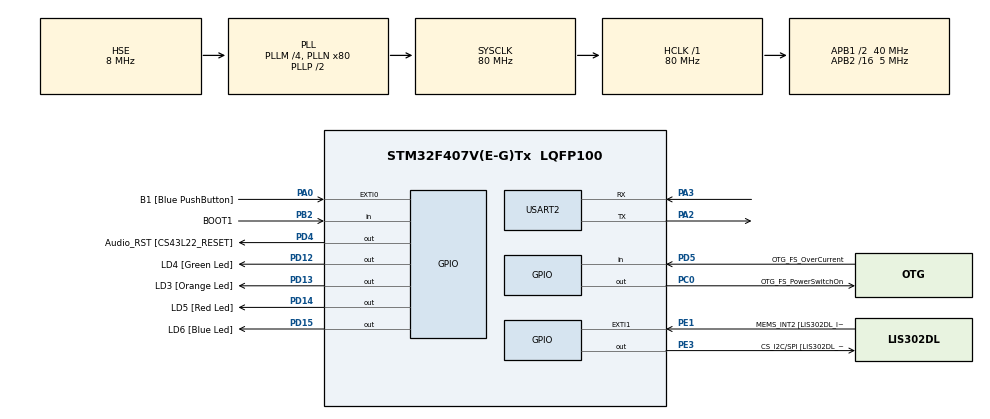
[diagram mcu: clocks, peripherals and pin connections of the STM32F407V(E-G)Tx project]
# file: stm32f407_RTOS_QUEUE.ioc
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FREERTOS.Queues01=data_queue,10,float,0,Dynamic,NULL,NULL
FREERTOS.Tasks01=defaultTask,8,512,StartDefaultTask,Default,NULL,Dynamic,NULL,NULL;print_tast,24,512,Start_print_task,Default,NULL,Dynamic,NULL,NULL;data_task,24,512,Start_data_task,Default,NULL,Dynamic,NULL,NULL
FREERTOS.configUSE_NEWLIB_REENTRANT=1
Mcu.Family=STM32F4
Mcu.Name=STM32F407V(E-G)Tx
Mcu.Package=LQFP100
NVIC.PriorityGroup=NVIC_PRIORITYGROUP_4
NVIC.TIM2_IRQn=true\:15\:0\:false\:false\:true\:false\:false\:true\:true
NVIC.TimeBase=TIM2_IRQn
NVIC.TimeBaseIP=TIM2
PA0-WKUP.GPIO_Label=B1 [Blue PushButton]
PA0-WKUP.Signal=GPXTI0
PA10.GPIO_Label=OTG_FS_ID
PA10.GPIO_Mode=GPIO_MODE_AF_PP
PA10.GPIO_PuPd=GPIO_NOPULL
PA10.GPIO_Speed=GPIO_SPEED_FREQ_LOW
PA10.Signal=USB_OTG_FS_ID
PA11.GPIO_Label=OTG_FS_DM
PA11.GPIO_Mode=GPIO_MODE_AF_PP
PA11.GPIO_PuPd=GPIO_NOPULL
PA11.GPIO_Speed=GPIO_SPEED_FREQ_LOW
PA11.Signal=USB_OTG_FS_DM
PA12.GPIO_Label=OTG_FS_DP
PA12.GPIO_Mode=GPIO_MODE_AF_PP
PA12.GPIO_PuPd=GPIO_NOPULL
PA12.GPIO_Speed=GPIO_SPEED_FREQ_LOW
PA12.Signal=USB_OTG_FS_DP
PA13.GPIO_Label=SWDIO
PA13.Mode=Serial_Wire
PA13.Signal=SYS_JTMS-SWDIO
PA14.GPIO_Label=SWCLK
PA14.Mode=Serial_Wire
PA14.Signal=SYS_JTCK-SWCLK
PA2.Mode=Asynchronous
PA2.Signal=USART2_TX
PA3.Mode=Asynchronous
PA3.Signal=USART2_RX
PA4.GPIO_Label=I2S3_WS [CS43L22_LRCK]
PA4.GPIO_Mode=GPIO_MODE_AF_PP
PA4.GPIO_PuPd=GPIO_NOPULL
PA4.GPIO_Speed=GPIO_SPEED_FREQ_LOW
PA4.Signal=I2S3_WS
PA5.GPIO_Label=SPI1_SCK [LIS302DL_SCL/SPC]
PA5.GPIO_Mode=GPIO_MODE_AF_PP
PA5.GPIO_PuPd=GPIO_NOPULL
PA5.GPIO_Speed=GPIO_SPEED_FREQ_LOW
PA5.Signal=SPI1_SCK
PA6.GPIO_Label=SPI1_MISO [LIS302DL_SDO]
PA6.GPIO_Mode=GPIO_MODE_AF_PP
PA6.GPIO_PuPd=GPIO_NOPULL
PA6.GPIO_Speed=GPIO_SPEED_FREQ_LOW
PA6.Signal=SPI1_MISO
PA7.GPIO_Label=SPI1_MOSI [LIS302DL_SDA/SDI/SDO]
PA7.GPIO_Mode=GPIO_MODE_AF_PP
PA7.GPIO_PuPd=GPIO_NOPULL
PA7.GPIO_Speed=GPIO_SPEED_FREQ_LOW
PA7.Signal=SPI1_MOSI
PA9.GPIO_Label=VBUS_FS
PA9.GPIO_Mode=GPIO_MODE_INPUT
PA9.GPIO_PuPd=GPIO_NOPULL
PA9.Signal=USB_OTG_FS_VBUS
PB10.GPIO_Label=CLK_IN [MP45DT02_CLK]
PB10.GPIO_Mode=GPIO_MODE_AF_PP
PB10.GPIO_PuPd=GPIO_NOPULL
PB10.GPIO_Speed=GPIO_SPEED_FREQ_LOW
PB10.Signal=I2S2_CK
PB2.GPIO_Label=BOOT1
PB2.GPIO_Mode=GPIO_MODE_INPUT
PB2.GPIO_PuPd=GPIO_NOPULL
PB2.Signal=GPIO_Input
PB3.GPIO_Label=SWO
PB3.Signal=SYS_JTDO-SWO
PB6.GPIO_Label=Audio_SCL [CS43L22_SCL]
PB6.GPIO_Mode=GPIO_MODE_AF_OD
PB6.GPIO_PuPd=GPIO_NOPULL
PB6.GPIO_Speed=GPIO_SPEED_FREQ_LOW
PB6.Signal=I2C1_SCL
PB9.GPIO_Label=Audio_SDA [CS43L22_SDA]
PB9.GPIO_Mode=GPIO_MODE_AF_OD
PB9.GPIO_PuPd=GPIO_NOPULL
PB9.GPIO_Speed=GPIO_SPEED_FREQ_LOW
PB9.Signal=I2C1_SDA
PC0.GPIO_Label=OTG_FS_PowerSwitchOn
PC0.GPIO_PuPd=GPIO_NOPULL
PC0.GPIO_Speed=GPIO_SPEED_FREQ_LOW
PC0.PinState=GPIO_PIN_SET
PC0.Signal=GPIO_Output
PC10.GPIO_Label=I2S3_SCK [CS43L22_SCLK]
PC10.GPIO_Mode=GPIO_MODE_AF_PP
PC10.GPIO_PuPd=GPIO_NOPULL
PC10.GPIO_Speed=GPIO_SPEED_FREQ_LOW
PC10.Signal=I2S3_CK
PC12.GPIO_Label=I2S3_SD [CS43L22_SDIN]
PC12.GPIO_Mode=GPIO_MODE_AF_PP
PC12.GPIO_PuPd=GPIO_NOPULL
PC12.GPIO_Speed=GPIO_SPEED_FREQ_LOW
PC12.Signal=I2S3_SD
PC14-OSC32_IN.GPIO_Label=PC14-OSC32_IN
PC14-OSC32_IN.Signal=RCC_OSC32_IN
PC15-OSC32_OUT.GPIO_Label=PC15-OSC32_OUT
PC15-OSC32_OUT.Signal=RCC_OSC32_OUT
PC3.GPIO_Label=PDM_OUT [MP45DT02_DOUT]
PC3.GPIO_Mode=GPIO_MODE_AF_PP
PC3.GPIO_PuPd=GPIO_NOPULL
PC3.GPIO_Speed=GPIO_SPEED_FREQ_LOW
PC3.Signal=I2S2_SD
PC7.GPIO_Label=I2S3_MCK [CS43L22_MCLK]
PC7.GPIO_Mode=GPIO_MODE_AF_PP
PC7.GPIO_PuPd=GPIO_NOPULL
PC7.GPIO_Speed=GPIO_SPEED_FREQ_LOW
PC7.Signal=I2S3_MCK
PD12.GPIO_Label=LD4 [Green Led]
PD12.GPIO_PuPd=GPIO_NOPULL
PD12.GPIO_Speed=GPIO_SPEED_FREQ_LOW
PD12.Signal=GPIO_Output
PD13.GPIO_Label=LD3 [Orange Led]
PD13.GPIO_PuPd=GPIO_NOPULL
PD13.GPIO_Speed=GPIO_SPEED_FREQ_LOW
PD13.Signal=GPIO_Output
PD14.GPIO_Label=LD5 [Red Led]
PD14.GPIO_PuPd=GPIO_NOPULL
PD14.GPIO_Speed=GPIO_SPEED_FREQ_LOW
PD14.Signal=GPIO_Output
PD15.GPIO_Label=LD6 [Blue Led]
PD15.GPIO_PuPd=GPIO_NOPULL
PD15.GPIO_Speed=GPIO_SPEED_FREQ_LOW
PD15.Signal=GPIO_Output
PD4.GPIO_Label=Audio_RST [CS43L22_RESET]
PD4.GPIO_PuPd=GPIO_NOPULL
PD4.GPIO_Speed=GPIO_SPEED_FREQ_LOW
PD4.Signal=GPIO_Output
PD5.GPIO_Label=OTG_FS_OverCurrent
PD5.GPIO_Mode=GPIO_MODE_INPUT
PD5.GPIO_PuPd=GPIO_NOPULL
PD5.Signal=GPIO_Input
PE1.GPIO_Label=MEMS_INT2 [LIS302DL_INT2]
PE1.GPIO_ModeDefaultEXTI=GPIO_MODE_EVT_RISING
PE1.GPIO_PuPd=GPIO_NOPULL
PE1.Signal=GPXTI1
PE3.GPIO_Label=CS_I2C/SPI [LIS302DL_CS_I2C/SPI]
PE3.GPIO_PuPd=GPIO_NOPULL
PE3.GPIO_Speed=GPIO_SPEED_FREQ_LOW
PE3.Signal=GPIO_Output
PH0-OSC_IN.GPIO_Label=PH0-OSC_IN
PH0-OSC_IN.Mode=HSE-External-Oscillator
PH0-OSC_IN.Signal=RCC_OSC_IN
PH1-OSC_OUT.GPIO_Label=PH1-OSC_OUT
PH1-OSC_OUT.Mode=HSE-External-Oscillator
PH1-OSC_OUT.Signal=RCC_OSC_OUT
ProjectManager.HeapSize=0x200
ProjectManager.StackSize=0x400
ProjectManager.TargetToolchain=STM32CubeIDE
RCC.48MHZClocksFreq_Value=22857142.85714286
RCC.AHBFreq_Value=80000000
RCC.APB1CLKDivider=RCC_HCLK_DIV2
RCC.APB1Freq_Value=40000000
RCC.APB1TimFreq_Value=80000000
RCC.APB2CLKDivider=RCC_HCLK_DIV16
RCC.APB2Freq_Value=5000000
RCC.APB2TimFreq_Value=10000000
RCC.CortexFreq_Value=80000000
RCC.HCLKFreq_Value=80000000
RCC.HSE_VALUE=8000000
RCC.HSI_VALUE=16000000
RCC.LSE_VALUE=32768
RCC.PLLM=4
RCC.PLLN=80
RCC.PLLQ=7
RCC.PLLSourceVirtual=RCC_PLLSOURCE_HSE
RCC.SYSCLKFreq_VALUE=80000000
RCC.SYSCLKSource=RCC_SYSCLKSOURCE_PLLCLK
RCC.VCOOutputFreq_Value=160000000
USART2.VirtualMode=VM_ASYNC
VP_FREERTOS_VS_CMSIS_V2.Mode=CMSIS_V2
VP_SYS_VS_tim2.Mode=TIM2
board=STM32F407G-DISC1

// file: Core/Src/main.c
/* USER CODE BEGIN Header */
/**
  ******************************************************************************
  * @file           : main.c
  * @brief          : Main program body
  ******************************************************************************
  * @attention
  *
  * Copyright (c) 2024 STMicroelectronics.
  * All rights reserved.
  *
  * This software is licensed under terms that can be found in the LICENSE file
  * in the root directory of this software component.
  * If no LICENSE file comes with this software, it is provided AS-IS.
  *
  ******************************************************************************
  */
/* USER CODE END Header */
#include "main.h"
#include "cmsis_os.h"

/* USER CODE BEGIN Includes */
#include <stdio.h>
#include <string.h>
/* USER CODE END Includes */

UART_HandleTypeDef huart2;

/* Definitions for defaultTask */
osThreadId_t defaultTaskHandle;
const osThreadAttr_t defaultTask_attributes = {
  .name = "defaultTask",
  .stack_size = 512 * 4,
  .priority = (osPriority_t) osPriorityLow,
};
/* Definitions for print_tast */
osThreadId_t print_tastHandle;
const osThreadAttr_t print_tast_attributes = {
  .name = "print_tast",
  .stack_size = 512 * 4,
  .priority = (osPriority_t) osPriorityNormal,
};
/* Definitions for data_task */
osThreadId_t data_taskHandle;
const osThreadAttr_t data_task_attributes = {
  .name = "data_task",
  .stack_size = 512 * 4,
  .priority = (osPriority_t) osPriorityNormal,
};
/* Definitions for data_queue */
osMessageQueueId_t data_queueHandle;
const osMessageQueueAttr_t data_queue_attributes = {
  .name = "data_queue"
};

void SystemClock_Config(void);
static void MX_GPIO_Init(void);
static void MX_USART2_UART_Init(void);
void StartDefaultTask(void *argument);
void Start_print_task(void *argument);
void Start_data_task(void *argument);

int main(void)
{

  /* MCU Configuration--------------------------------------------------------*/

  /* Reset of all peripherals, Initializes the Flash interface and the Systick. */
  HAL_Init();

  /* Configure the system clock */
  SystemClock_Config();

  /* Initialize all configured peripherals */
  MX_GPIO_Init();
  MX_USART2_UART_Init();

  /* Init scheduler */
  osKernelInitialize();

  /* Create the queue(s) */
  /* creation of data_queue */
  data_queueHandle = osMessageQueueNew (10, sizeof(float), &data_queue_attributes);
  if (data_queueHandle == NULL) {
      // Handle message queue creation error
      char buffer[50];
      snprintf(buffer, sizeof(buffer), "Queue Creation Error\r\n");
      HAL_UART_Transmit(&huart2, (uint8_t*)buffer, strlen(buffer), HAL_MAX_DELAY);
      // You may want to halt or enter an error state here
      while (1);
  }

  /* Create the thread(s) */
  /* creation of defaultTask */
  defaultTaskHandle = osThreadNew(StartDefaultTask, NULL, &defaultTask_attributes);

  /* creation of print_tast */
  print_tastHandle = osThreadNew(Start_print_task, NULL, &print_tast_attributes);
  if (print_tastHandle == NULL) {
      // Handle message queue creation error
      char buffer[50];
      snprintf(buffer, sizeof(buffer), "Print Task Creation Error\r\n");
      HAL_UART_Transmit(&huart2, (uint8_t*)buffer, strlen(buffer), HAL_MAX_DELAY);
      // You may want to halt or enter an error state here
      while (1);
  }

  /* creation of data_task */
  data_taskHandle = osThreadNew(Start_data_task, NULL, &data_task_attributes);
  if (data_taskHandle == NULL) {
      // Handle message queue creation error
      char buffer[50];
      snprintf(buffer, sizeof(buffer), "Data Task Creation Error\r\n");
      HAL_UART_Transmit(&huart2, (uint8_t*)buffer, strlen(buffer), HAL_MAX_DELAY);
      // You may want to halt or enter an error state here
      while (1);
  }

  /* Start scheduler */
  osKernelStart();
  /* We should never get here as control is now taken by the scheduler */
  /* Infinite loop */
  while (1)
  {

  }
}

void SystemClock_Config(void)
{
  RCC_OscInitTypeDef RCC_OscInitStruct = {0};
  RCC_ClkInitTypeDef RCC_ClkInitStruct = {0};

  /** Configure the main internal regulator output voltage
  */
  __HAL_RCC_PWR_CLK_ENABLE();
  __HAL_PWR_VOLTAGESCALING_CONFIG(PWR_REGULATOR_VOLTAGE_SCALE1);

  /** Initializes the RCC Oscillators according to the specified parameters
  * in the RCC_OscInitTypeDef structure.
  */
  RCC_OscInitStruct.OscillatorType = RCC_OSCILLATORTYPE_HSE;
  RCC_OscInitStruct.HSEState = RCC_HSE_ON;
  RCC_OscInitStruct.PLL.PLLState = RCC_PLL_ON;
  RCC_OscInitStruct.PLL.PLLSource = RCC_PLLSOURCE_HSE;
  RCC_OscInitStruct.PLL.PLLM = 4;
  RCC_OscInitStruct.PLL.PLLN = 80;
  RCC_OscInitStruct.PLL.PLLP = RCC_PLLP_DIV2;
  RCC_OscInitStruct.PLL.PLLQ = 7;
  if (HAL_RCC_OscConfig(&RCC_OscInitStruct) != HAL_OK)
  {
    Error_Handler();
  }

  /** Initializes the CPU, AHB and APB buses clocks
  */
  RCC_ClkInitStruct.ClockType = RCC_CLOCKTYPE_HCLK|RCC_CLOCKTYPE_SYSCLK
                              |RCC_CLOCKTYPE_PCLK1|RCC_CLOCKTYPE_PCLK2;
  RCC_ClkInitStruct.SYSCLKSource = RCC_SYSCLKSOURCE_PLLCLK;
  RCC_ClkInitStruct.AHBCLKDivider = RCC_SYSCLK_DIV1;
  RCC_ClkInitStruct.APB1CLKDivider = RCC_HCLK_DIV2;
  RCC_ClkInitStruct.APB2CLKDivider = RCC_HCLK_DIV16;

  if (HAL_RCC_ClockConfig(&RCC_ClkInitStruct, FLASH_LATENCY_2) != HAL_OK)
  {
    Error_Handler();
  }
}

static void MX_USART2_UART_Init(void)
{

  huart2.Instance = USART2;
  huart2.Init.BaudRate = 115200;
  huart2.Init.WordLength = UART_WORDLENGTH_8B;
  huart2.Init.StopBits = UART_STOPBITS_1;
  huart2.Init.Parity = UART_PARITY_NONE;
  huart2.Init.Mode = UART_MODE_TX_RX;
  huart2.Init.HwFlowCtl = UART_HWCONTROL_NONE;
  huart2.Init.OverSampling = UART_OVERSAMPLING_16;
  if (HAL_UART_Init(&huart2) != HAL_OK)
  {
    Error_Handler();
  }

}

static void MX_GPIO_Init(void)
{
  GPIO_InitTypeDef GPIO_InitStruct = {0};

  /* GPIO Ports Clock Enable */
  __HAL_RCC_GPIOE_CLK_ENABLE();
  __HAL_RCC_GPIOC_CLK_ENABLE();
  __HAL_RCC_GPIOH_CLK_ENABLE();
  __HAL_RCC_GPIOA_CLK_ENABLE();
  __HAL_RCC_GPIOB_CLK_ENABLE();
  __HAL_RCC_GPIOD_CLK_ENABLE();

  /*Configure GPIO pin Output Level */
  HAL_GPIO_WritePin(CS_I2C_SPI_GPIO_Port, CS_I2C_SPI_Pin, GPIO_PIN_RESET);

  /*Configure GPIO pin Output Level */
  HAL_GPIO_WritePin(OTG_FS_PowerSwitchOn_GPIO_Port, OTG_FS_PowerSwitchOn_Pin, GPIO_PIN_SET);

  /*Configure GPIO pin Output Level */
  HAL_GPIO_WritePin(GPIOD, LD4_Pin|LD3_Pin|LD5_Pin|LD6_Pin
                          |Audio_RST_Pin, GPIO_PIN_RESET);

  /*Configure GPIO pin : CS_I2C_SPI_Pin */
  GPIO_InitStruct.Pin = CS_I2C_SPI_Pin;
  GPIO_InitStruct.Mode = GPIO_MODE_OUTPUT_PP;
  GPIO_InitStruct.Pull = GPIO_NOPULL;
  GPIO_InitStruct.Speed = GPIO_SPEED_FREQ_LOW;
  HAL_GPIO_Init(CS_I2C_SPI_GPIO_Port, &GPIO_InitStruct);

  /*Configure GPIO pin : OTG_FS_PowerSwitchOn_Pin */
  GPIO_InitStruct.Pin = OTG_FS_PowerSwitchOn_Pin;
  GPIO_InitStruct.Mode = GPIO_MODE_OUTPUT_PP;
  GPIO_InitStruct.Pull = GPIO_NOPULL;
  GPIO_InitStruct.Speed = GPIO_SPEED_FREQ_LOW;
  HAL_GPIO_Init(OTG_FS_PowerSwitchOn_GPIO_Port, &GPIO_InitStruct);

  /*Configure GPIO pin : PDM_OUT_Pin */
  GPIO_InitStruct.Pin = PDM_OUT_Pin;
  GPIO_InitStruct.Mode = GPIO_MODE_AF_PP;
  GPIO_InitStruct.Pull = GPIO_NOPULL;
  GPIO_InitStruct.Speed = GPIO_SPEED_FREQ_LOW;
  GPIO_InitStruct.Alternate = GPIO_AF5_SPI2;
  HAL_GPIO_Init(PDM_OUT_GPIO_Port, &GPIO_InitStruct);

  /*Configure GPIO pin : B1_Pin */
  GPIO_InitStruct.Pin = B1_Pin;
  GPIO_InitStruct.Mode = GPIO_MODE_IT_RISING;
  GPIO_InitStruct.Pull = GPIO_NOPULL;
  HAL_GPIO_Init(B1_GPIO_Port, &GPIO_InitStruct);

  /*Configure GPIO pin : I2S3_WS_Pin */
  GPIO_InitStruct.Pin = I2S3_WS_Pin;
  GPIO_InitStruct.Mode = GPIO_MODE_AF_PP;
  GPIO_InitStruct.Pull = GPIO_NOPULL;
  GPIO_InitStruct.Speed = GPIO_SPEED_FREQ_LOW;
  GPIO_InitStruct.Alternate = GPIO_AF6_SPI3;
  HAL_GPIO_Init(I2S3_WS_GPIO_Port, &GPIO_InitStruct);

  /*Configure GPIO pins : SPI1_SCK_Pin SPI1_MISO_Pin SPI1_MOSI_Pin */
  GPIO_InitStruct.Pin = SPI1_SCK_Pin|SPI1_MISO_Pin|SPI1_MOSI_Pin;
  GPIO_InitStruct.Mode = GPIO_MODE_AF_PP;
  GPIO_InitStruct.Pull = GPIO_NOPULL;
  GPIO_InitStruct.Speed = GPIO_SPEED_FREQ_LOW;
  GPIO_InitStruct.Alternate = GPIO_AF5_SPI1;
  HAL_GPIO_Init(GPIOA, &GPIO_InitStruct);

  /*Configure GPIO pin : BOOT1_Pin */
  GPIO_InitStruct.Pin = BOOT1_Pin;
  GPIO_InitStruct.Mode = GPIO_MODE_INPUT;
  GPIO_InitStruct.Pull = GPIO_NOPULL;
  HAL_GPIO_Init(BOOT1_GPIO_Port, &GPIO_InitStruct);

  /*Configure GPIO pin : CLK_IN_Pin */
  GPIO_InitStruct.Pin = CLK_IN_Pin;
  GPIO_InitStruct.Mode = GPIO_MODE_AF_PP;
  GPIO_InitStruct.Pull = GPIO_NOPULL;
  GPIO_InitStruct.Speed = GPIO_SPEED_FREQ_LOW;
  GPIO_InitStruct.Alternate = GPIO_AF5_SPI2;
  HAL_GPIO_Init(CLK_IN_GPIO_Port, &GPIO_InitStruct);

  /*Configure GPIO pins : LD4_Pin LD3_Pin LD5_Pin LD6_Pin
                           Audio_RST_Pin */
  GPIO_InitStruct.Pin = LD4_Pin|LD3_Pin|LD5_Pin|LD6_Pin
                          |Audio_RST_Pin;
  GPIO_InitStruct.Mode = GPIO_MODE_OUTPUT_PP;
  GPIO_InitStruct.Pull = GPIO_NOPULL;
  GPIO_InitStruct.Speed = GPIO_SPEED_FREQ_LOW;
  HAL_GPIO_Init(GPIOD, &GPIO_InitStruct);

  /*Configure GPIO pins : I2S3_MCK_Pin I2S3_SCK_Pin I2S3_SD_Pin */
  GPIO_InitStruct.Pin = I2S3_MCK_Pin|I2S3_SCK_Pin|I2S3_SD_Pin;
  GPIO_InitStruct.Mode = GPIO_MODE_AF_PP;
  GPIO_InitStruct.Pull = GPIO_NOPULL;
  GPIO_InitStruct.Speed = GPIO_SPEED_FREQ_LOW;
  GPIO_InitStruct.Alternate = GPIO_AF6_SPI3;
  HAL_GPIO_Init(GPIOC, &GPIO_InitStruct);

  /*Configure GPIO pin : VBUS_FS_Pin */
  GPIO_InitStruct.Pin = VBUS_FS_Pin;
  GPIO_InitStruct.Mode = GPIO_MODE_INPUT;
  GPIO_InitStruct.Pull = GPIO_NOPULL;
  HAL_GPIO_Init(VBUS_FS_GPIO_Port, &GPIO_InitStruct);

  /*Configure GPIO pins : OTG_FS_ID_Pin OTG_FS_DM_Pin OTG_FS_DP_Pin */
  GPIO_InitStruct.Pin = OTG_FS_ID_Pin|OTG_FS_DM_Pin|OTG_FS_DP_Pin;
  GPIO_InitStruct.Mode = GPIO_MODE_AF_PP;
  GPIO_InitStruct.Pull = GPIO_NOPULL;
  GPIO_InitStruct.Speed = GPIO_SPEED_FREQ_LOW;
  GPIO_InitStruct.Alternate = GPIO_AF10_OTG_FS;
  HAL_GPIO_Init(GPIOA, &GPIO_InitStruct);

  /*Configure GPIO pin : OTG_FS_OverCurrent_Pin */
  GPIO_InitStruct.Pin = OTG_FS_OverCurrent_Pin;
  GPIO_InitStruct.Mode = GPIO_MODE_INPUT;
  GPIO_InitStruct.Pull = GPIO_NOPULL;
  HAL_GPIO_Init(OTG_FS_OverCurrent_GPIO_Port, &GPIO_InitStruct);

  /*Configure GPIO pins : Audio_SCL_Pin Audio_SDA_Pin */
  GPIO_InitStruct.Pin = Audio_SCL_Pin|Audio_SDA_Pin;
  GPIO_InitStruct.Mode = GPIO_MODE_AF_OD;
  GPIO_InitStruct.Pull = GPIO_NOPULL;
  GPIO_InitStruct.Speed = GPIO_SPEED_FREQ_LOW;
  GPIO_InitStruct.Alternate = GPIO_AF4_I2C1;
  HAL_GPIO_Init(GPIOB, &GPIO_InitStruct);

  /*Configure GPIO pin : MEMS_INT2_Pin */
  GPIO_InitStruct.Pin = MEMS_INT2_Pin;
  GPIO_InitStruct.Mode = GPIO_MODE_EVT_RISING;
  GPIO_InitStruct.Pull = GPIO_NOPULL;
  HAL_GPIO_Init(MEMS_INT2_GPIO_Port, &GPIO_InitStruct);

}

void StartDefaultTask(void *argument)
{
  /* USER CODE BEGIN 5 */
  /* Infinite loop */
  for(;;)
  {
    osDelay(1000);
  }
  /* USER CODE END 5 */
}

void Start_print_task(void *argument)
{
  /* USER CODE BEGIN Start_print_task */
	float distance;
	char buffer[50];
	osStatus_t status;

	for (;;) {
	    // Wait for a message from the queue with a finite timeout (100 milliseconds)
	    status = osMessageQueueGet(data_queueHandle, &distance, NULL, 100);
	    if (status == osOK) {
	       snprintf(buffer, sizeof(buffer), "Distance: %.2f\r\n", distance);
	       HAL_UART_Transmit(&huart2, (uint8_t*)buffer, strlen(buffer), HAL_MAX_DELAY);
	    }
	    osDelay(1000); // Adjust the delay as needed
	}

  /* USER CODE END Start_print_task */
}

void Start_data_task(void *argument)
{
  /* USER CODE BEGIN Start_data_task */
	    float distance = 1.23;
	    osStatus_t status;
	    for (;;) {
	           // Simulate getting distance data from a sensor
	           distance += 1; // Replace with actual sensor reading

	           // Put the message in the queue with a timeout
	           status = osMessageQueuePut(data_queueHandle, &distance, 0, 500);

	           if (status != osOK) {
	               // Handle queue put error
	               char buffer[50];
	               snprintf(buffer, sizeof(buffer), "Queue Put Error: %d\r\n", status);
	               HAL_UART_Transmit(&huart2, (uint8_t*)buffer, strlen(buffer), HAL_MAX_DELAY);
	           }
	           osDelay(1000); // Adjust the delay as needed
	       }
  /* USER CODE END Start_data_task */
}

void HAL_TIM_PeriodElapsedCallback(TIM_HandleTypeDef *htim)
{
  if (htim->Instance == TIM2) {
    HAL_IncTick();
  }
}

void Error_Handler(void)
{
  __disable_irq();
  while (1)
  {
  }
}
